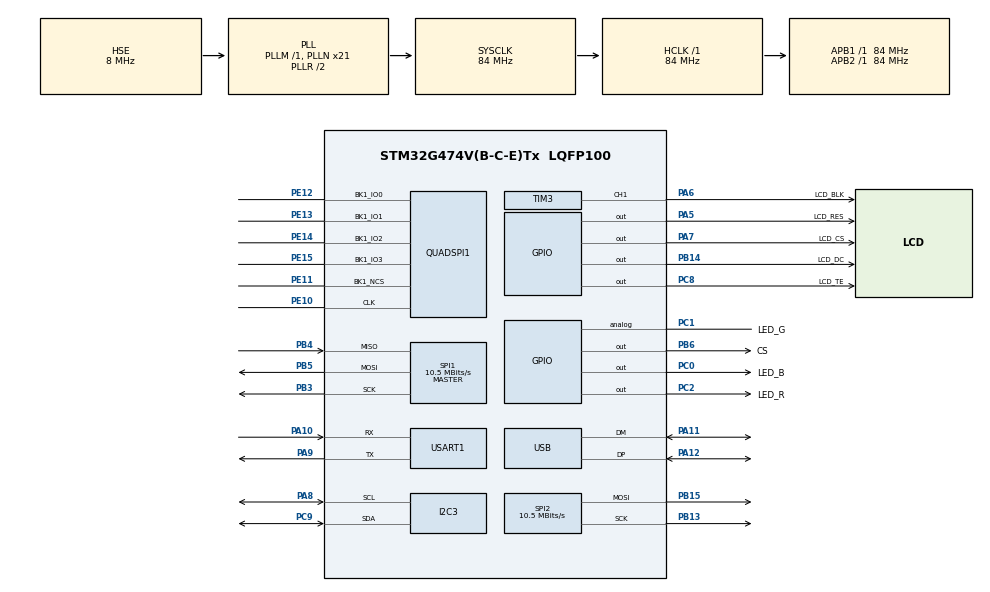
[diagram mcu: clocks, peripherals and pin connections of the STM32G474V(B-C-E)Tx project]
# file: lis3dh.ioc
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Dma.Request0=SPI2_TX
Dma.SPI2_TX.0.Direction=DMA_MEMORY_TO_PERIPH
Dma.SPI2_TX.0.EventEnable=DISABLE
Dma.SPI2_TX.0.Instance=DMA1_Channel1
Dma.SPI2_TX.0.MemDataAlignment=DMA_MDATAALIGN_BYTE
Dma.SPI2_TX.0.MemInc=DMA_MINC_ENABLE
Dma.SPI2_TX.0.Mode=DMA_NORMAL
Dma.SPI2_TX.0.PeriphDataAlignment=DMA_PDATAALIGN_BYTE
Dma.SPI2_TX.0.PeriphInc=DMA_PINC_DISABLE
Dma.SPI2_TX.0.Polarity=HAL_DMAMUX_REQ_GEN_RISING
Dma.SPI2_TX.0.Priority=DMA_PRIORITY_LOW
Dma.SPI2_TX.0.RequestNumber=1
Dma.SPI2_TX.0.SignalID=NONE
Dma.SPI2_TX.0.SyncEnable=DISABLE
Dma.SPI2_TX.0.SyncPolarity=HAL_DMAMUX_SYNC_NO_EVENT
Dma.SPI2_TX.0.SyncRequestNumber=1
Dma.SPI2_TX.0.SyncSignalID=NONE
I2C3.Timing=0x20916F9D
Mcu.Family=STM32G4
Mcu.Name=STM32G474V(B-C-E)Tx
Mcu.Package=LQFP100
NVIC.DMA1_Channel1_IRQn=true\:0\:0\:false\:false\:true\:false\:true\:true
NVIC.PriorityGroup=NVIC_PRIORITYGROUP_4
NVIC.USB_LP_IRQn=true\:0\:0\:false\:false\:true\:false\:true\:true
PA10.Mode=Asynchronous
PA10.Signal=USART1_RX
PA11.Mode=Device
PA11.Signal=USB_DM
PA12.Mode=Device
PA12.Signal=USB_DP
PA13.Mode=Serial_Wire
PA13.Signal=SYS_JTMS-SWDIO
PA14.Mode=Serial_Wire
PA14.Signal=SYS_JTCK-SWCLK
PA5.GPIO_Label=LCD_RES
PA5.Signal=GPIO_Output
PA6.GPIO_Label=LCD_BLK
PA6.Signal=S_TIM3_CH1
PA7.GPIO_Label=LCD_CS
PA7.Signal=GPIO_Output
PA8.Mode=I2C
PA8.Signal=I2C3_SCL
PA9.Mode=Asynchronous
PA9.Signal=USART1_TX
PB13.Mode=TX_Only_Simplex_Unidirect_Master
PB13.Signal=SPI2_SCK
PB14.GPIO_Label=LCD_DC
PB14.Signal=GPIO_Output
PB15.Mode=TX_Only_Simplex_Unidirect_Master
PB15.Signal=SPI2_MOSI
PB3.Mode=Full_Duplex_Master
PB3.Signal=SPI1_SCK
PB4.Mode=Full_Duplex_Master
PB4.Signal=SPI1_MISO
PB5.Mode=Full_Duplex_Master
PB5.Signal=SPI1_MOSI
PB6.GPIO_Label=CS
PB6.Signal=GPIO_Output
PC0.GPIO_Label=LED_B
PC0.Signal=GPIO_Output
PC1.GPIO_Label=LED_G
PC1.Signal=GPIO_Analog
PC14-OSC32_IN.Mode=LSE-External-Oscillator
PC14-OSC32_IN.Signal=RCC_OSC32_IN
PC15-OSC32_OUT.Mode=LSE-External-Oscillator
PC15-OSC32_OUT.Signal=RCC_OSC32_OUT
PC2.GPIO_Label=LED_R
PC2.Signal=GPIO_Output
PC8.GPIO_Label=LCD_TE
PC8.Signal=GPIO_Output
PC9.Mode=I2C
PC9.Signal=I2C3_SDA
PE10.Mode=Single Bank 1
PE10.Signal=QUADSPI1_CLK
PE11.Mode=Single Bank 1
PE11.Signal=QUADSPI1_BK1_NCS
PE12.Mode=Single Bank 1
PE12.Signal=QUADSPI1_BK1_IO0
PE13.Mode=Single Bank 1
PE13.Signal=QUADSPI1_BK1_IO1
PE14.Mode=Single Bank 1
PE14.Signal=QUADSPI1_BK1_IO2
PE15.Mode=Single Bank 1
PE15.Signal=QUADSPI1_BK1_IO3
PF0-OSC_IN.Mode=HSE-External-Oscillator
PF0-OSC_IN.Signal=RCC_OSC_IN
PF1-OSC_OUT.Mode=HSE-External-Oscillator
PF1-OSC_OUT.Signal=RCC_OSC_OUT
ProjectManager.HeapSize=0x200
ProjectManager.StackSize=0x400
ProjectManager.TargetToolchain=STM32CubeIDE
RCC.ADC12Freq_Value=84000000
RCC.ADC345Freq_Value=84000000
RCC.AHBFreq_Value=84000000
RCC.APB1Freq_Value=84000000
RCC.APB1TimFreq_Value=84000000
RCC.APB2Freq_Value=84000000
RCC.APB2TimFreq_Value=84000000
RCC.CK48CLockSelection=RCC_USBCLKSOURCE_HSI48
RCC.CortexFreq_Value=84000000
RCC.EXTERNAL_CLOCK_VALUE=12288000
RCC.EnableCSSLSE=true
RCC.EnbaleCSS=true
RCC.HCLKFreq_Value=84000000
RCC.HSE_VALUE=8000000
RCC.HSI48_VALUE=48000000
RCC.HSI_VALUE=16000000
RCC.PLLN=21
RCC.PLLSourceVirtual=RCC_PLLSOURCE_HSE
RCC.RTCClockSelection=RCC_RTCCLKSOURCE_LSE
RCC.SYSCLKFreq_VALUE=84000000
RCC.SYSCLKSource=RCC_SYSCLKSOURCE_PLLCLK
RCC.USBFreq_Value=48000000
RCC.VCOOutputFreq_Value=168000000
SH.S_TIM3_CH1.0=TIM3_CH1,PWM Generation1 CH1
SPI1.BaudRatePrescaler=SPI_BAUDRATEPRESCALER_8
SPI1.CalculateBaudRate=10.5 MBits/s
SPI1.Direction=SPI_DIRECTION_2LINES
SPI1.Mode=SPI_MODE_MASTER
SPI1.VirtualType=VM_MASTER
SPI2.BaudRatePrescaler=SPI_BAUDRATEPRESCALER_8
SPI2.CLKPhase=SPI_PHASE_2EDGE
SPI2.CLKPolarity=SPI_POLARITY_HIGH
SPI2.CalculateBaudRate=10.5 MBits/s
SPI2.DataSize=SPI_DATASIZE_8BIT
SPI2.Direction=SPI_DIRECTION_2LINES
SPI2.Mode=SPI_MODE_MASTER
SPI2.VirtualType=VM_MASTER
TIM3.Channel-PWM\ Generation1\ CH1=TIM_CHANNEL_1
TIM3.PulseNoDither_1=32768 - 1
USART1.VirtualMode-Asynchronous=VM_ASYNC
USB_DEVICE.CLASS_NAME_FS=CDC
USB_DEVICE.VirtualMode=Cdc
USB_DEVICE.VirtualModeFS=Cdc_FS
VP_RTC_VS_RTC_Activate.Mode=RTC_Enabled
VP_SYS_VS_DBSignals.Mode=DisableDeadBatterySignals
VP_USB_DEVICE_VS_USB_DEVICE_CDC_FS.Mode=CDC_FS
board=custom

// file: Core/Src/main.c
/* USER CODE BEGIN Header */
/**
  ******************************************************************************
  * @file           : main.c
  * @brief          : Main program body
  ******************************************************************************
  * @attention
  *
  * Copyright (c) 2026 STMicroelectronics.
  * All rights reserved.
  *
  * This software is licensed under terms that can be found in the LICENSE file
  * in the root directory of this software component.
  * If no LICENSE file comes with this software, it is provided AS-IS.
  *
  ******************************************************************************
  */
/* USER CODE END Header */
#include "main.h"
#include "dma.h"
#include "i2c.h"
#include "quadspi.h"
#include "rtc.h"
#include "spi.h"
#include "tim.h"
#include "usart.h"
#include "usb_device.h"
#include "gpio.h"

/* USER CODE BEGIN Includes */
#include "lis3dh.h"
/* USER CODE END Includes */

/* USER CODE BEGIN PV */
// Allocate a buffer for reading data from the sensor.
// Six bytes required to read XYZ data.
uint8_t xyz_buf[6] = { 0 };

// New instance of the lis3dh convenience object.
lis3dh_t lis3dh;

// lis3dh calls return this HAL status type.
HAL_StatusTypeDef status;
/* USER CODE END PV */

void SystemClock_Config(void);
/* USER CODE BEGIN PFP */
/* USER CODE BEGIN PFP */
#ifdef __GNUC__
#define PUTCHAR_PROTOTYPE int __io_putchar(int ch)
#else
#define PUTCHAR_PROTOTYPE int fputc(int ch, FILE *f)
#endif

PUTCHAR_PROTOTYPE
{
  HAL_UART_Transmit(&huart1, (uint8_t *)&ch, 1, HAL_MAX_DELAY);
  return ch;
}
/* USER CODE END PFP */

int main(void)
{

  /* USER CODE BEGIN 1 */
    // определяем где выполняется программа, и корректируем расположение таблицы векторов
    uint32_t retPCasm(void); // небольшая функция для определения где выполняется программа в FLASH или RAM
    if ((retPCasm() & 0x20000000) != 0)
    {
        SCB->VTOR = 0x20000000; /* FlagDebugInRAM=1;*/
    }
  /* USER CODE END 1 */

  /* MCU Configuration--------------------------------------------------------*/

  /* Reset of all peripherals, Initializes the Flash interface and the Systick. */
  HAL_Init();

  /* Configure the system clock */
  SystemClock_Config();

  /* Initialize all configured peripherals */
  MX_GPIO_Init();
  MX_DMA_Init();
  MX_QUADSPI1_Init();
  MX_RTC_Init();
  MX_SPI2_Init();
  MX_TIM3_Init();
  MX_USART1_UART_Init();
  MX_USB_Device_Init();
  MX_SPI1_Init();
  MX_I2C3_Init();
  /* USER CODE BEGIN 2 */
  status = lis3dh_init(&lis3dh, &hi2c3, xyz_buf, 6);

  if (status != HAL_OK) {
    // Unable to communicate with device!
  }
  printf("lis3dh is Ok.\n\r");

  /* USER CODE END 2 */

  /* Infinite loop */
  /* USER CODE BEGIN WHILE */
  while (1)
  {
	  if (lis3dh_xyz_available(&lis3dh))
	  {
		  status = lis3dh_get_xyz(&lis3dh);
		  // You now have raw acceleration of gravity in lis3dh->x, y, and z.
		  printf("x: %d, y: %d, z: %d\n\r", lis3dh.x, lis3dh.y, lis3dh.z);
	  }
	  HAL_Delay(500);
    /* USER CODE END WHILE */

  }
}

void SystemClock_Config(void)
{
  RCC_OscInitTypeDef RCC_OscInitStruct = {0};
  RCC_ClkInitTypeDef RCC_ClkInitStruct = {0};

  /** Configure the main internal regulator output voltage
  */
  HAL_PWREx_ControlVoltageScaling(PWR_REGULATOR_VOLTAGE_SCALE1);

  /** Configure LSE Drive Capability
  */
  HAL_PWR_EnableBkUpAccess();
  __HAL_RCC_LSEDRIVE_CONFIG(RCC_LSEDRIVE_LOW);

  /** Initializes the RCC Oscillators according to the specified parameters
  * in the RCC_OscInitTypeDef structure.
  */
  RCC_OscInitStruct.OscillatorType = RCC_OSCILLATORTYPE_HSI48|RCC_OSCILLATORTYPE_HSE
                              |RCC_OSCILLATORTYPE_LSE;
  RCC_OscInitStruct.HSEState = RCC_HSE_ON;
  RCC_OscInitStruct.LSEState = RCC_LSE_ON;
  RCC_OscInitStruct.HSI48State = RCC_HSI48_ON;
  RCC_OscInitStruct.PLL.PLLState = RCC_PLL_ON;
  RCC_OscInitStruct.PLL.PLLSource = RCC_PLLSOURCE_HSE;
  RCC_OscInitStruct.PLL.PLLM = RCC_PLLM_DIV1;
  RCC_OscInitStruct.PLL.PLLN = 21;
  RCC_OscInitStruct.PLL.PLLP = RCC_PLLP_DIV2;
  RCC_OscInitStruct.PLL.PLLQ = RCC_PLLQ_DIV2;
  RCC_OscInitStruct.PLL.PLLR = RCC_PLLR_DIV2;
  if (HAL_RCC_OscConfig(&RCC_OscInitStruct) != HAL_OK)
  {
    Error_Handler();
  }

  /** Initializes the CPU, AHB and APB buses clocks
  */
  RCC_ClkInitStruct.ClockType = RCC_CLOCKTYPE_HCLK|RCC_CLOCKTYPE_SYSCLK
                              |RCC_CLOCKTYPE_PCLK1|RCC_CLOCKTYPE_PCLK2;
  RCC_ClkInitStruct.SYSCLKSource = RCC_SYSCLKSOURCE_PLLCLK;
  RCC_ClkInitStruct.AHBCLKDivider = RCC_SYSCLK_DIV1;
  RCC_ClkInitStruct.APB1CLKDivider = RCC_HCLK_DIV1;
  RCC_ClkInitStruct.APB2CLKDivider = RCC_HCLK_DIV1;

  if (HAL_RCC_ClockConfig(&RCC_ClkInitStruct, FLASH_LATENCY_2) != HAL_OK)
  {
    Error_Handler();
  }

  /** Enables the Clock Security System
  */
  HAL_RCC_EnableCSS();

  /** Enables the Clock Security System
  */
  HAL_RCC_EnableLSECSS();
}

void Error_Handler(void)
{
  __disable_irq();
  while (1)
  {
  }
}
